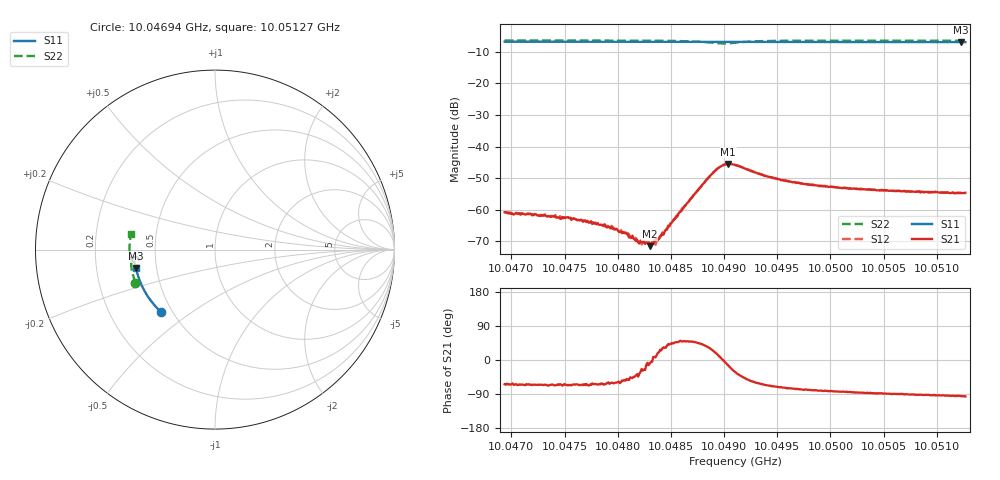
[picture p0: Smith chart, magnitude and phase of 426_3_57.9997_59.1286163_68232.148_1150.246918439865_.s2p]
#  HZ  S  RI  R  50.00
! Rohde & Schwarz Vector Network Analyzer
! Rohde-Schwarz,ZNB20-2Port,1311601062101988,3.16
! Created: UTC 3/21/2024, 1:09:21 AM
! freq[Hz]  re:S11  im:S11  re:S21  im:S21  re:S12  im:S12  re:S22  im:S22
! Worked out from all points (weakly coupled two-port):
!   401 points, 10.04694 GHz to 10.05127 GHz, reference 50 ohm
!   highest |S21| = -45.48 dB at 10.04904 GHz (marker M1); lowest = -71.5 dB at 10.0483 GHz (marker M2)
!   lowest |S11| = -6.9 dB at 10.05123 GHz (marker M3), VSWR 2.65, Z = 19.1 - j4.99 ohm
!   |S11| at or under -10 dB: nowhere
!   |S22| runs from -7.3 to -6.4 dB; largest |S21 - S12| = 0.00035
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1.0046936e10  -0.3034 -0.3454  0.000404 -0.00082  0.000479 -0.000796  -0.4432 -0.1839
1.0047445e10  -0.327 -0.3213  0.00031 -0.000695  0.00038 -0.000676  -0.4546 -0.1511
1.0047531e10  -0.331 -0.3172  0.000297 -0.000709  0.000342 -0.000652  -0.4562 -0.1455
1.0047661e10  -0.3366 -0.3108  0.000292 -0.00062  0.000322 -0.000613  -0.4586 -0.1368
1.0047856e10  -0.3448 -0.3007  0.000256 -0.000499  0.000298 -0.000492  -0.4617 -0.1233
1.0047954e10  -0.349 -0.2959  0.000242 -0.000438  0.000281 -0.000438  -0.4631 -0.1163
1.0048073e10  -0.3539 -0.2897  0.000253 -0.000358  0.000258 -0.000306  -0.4646 -0.1077
1.0048181e10  -0.3581 -0.284  0.000266 -0.000203  0.00025 -0.000194  -0.4657 -0.0997
1.0048203e10  -0.3589 -0.283  0.000238 -0.000172  0.000269 -0.000143  -0.4661 -0.0979
1.0048301e10  -0.3627 -0.2778  0.000263 -3.9e-05  0.00028 -1.58e-05  -0.4666 -0.0904
1.0048322e10  -0.3637 -0.2766  0.000301 -2.72e-05  0.000309 -1.31e-05  -0.4666 -0.0885
1.0048344e10  -0.3644 -0.2754  0.000313 4.45e-05  0.000319 6.85e-05  -0.4668 -0.0867
1.0048387e10  -0.3662 -0.2731  0.000325 0.000122  0.000322 0.00016  -0.4669 -0.0832
1.0048864e10  -0.3829 -0.2466  0.00288 0.00178  0.0028 0.00193  -0.4436 -0.0404
1.004895e10  -0.3857 -0.2418  0.00456 0.000882  0.00455 0.00116  -0.4294 -0.0454
1.0049037e10  -0.3885 -0.2372  0.00515 -0.00131  0.00525 -0.000999  -0.4273 -0.0619
1.0049102e10  -0.3905 -0.2336  0.00436 -0.00266  0.00458 -0.0024  -0.4367 -0.0698
1.0049416e10  -0.4007 -0.2155  0.00128 -0.00308  0.00147 -0.00302  -0.4684 -0.0488
1.0049828e10  -0.4122 -0.1909  0.000437 -0.00242  0.000604 -0.00245  -0.4755 -0.0146
1.0050554e10  -0.4288 -0.1464  2.79e-05 -0.002  0.000131 -0.00203  -0.475 0.0374
1.0051225e10  -0.44 -0.1039  -0.000175 -0.00184  -5.21e-05 -0.00186  -0.4691 0.0824
1.0051269e10  -0.4406 -0.1013  -0.000199 -0.00185  -5.52e-05 -0.00184  -0.4684 0.0854
